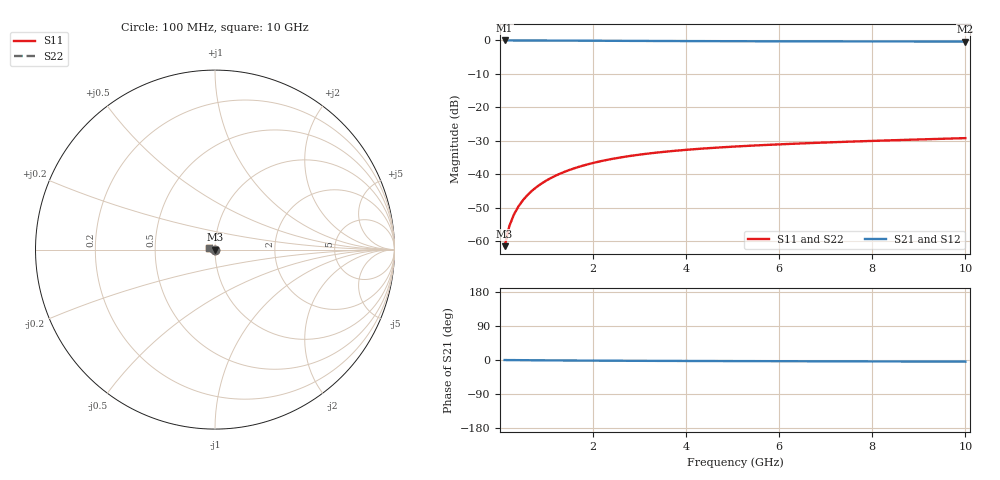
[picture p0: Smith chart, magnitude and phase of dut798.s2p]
! Touchstone file exported from HFSS 2024.1.0
!  File:  C:/UserFiles/LocalFiles/RDL_TSV_Batchsim/temp_TSV1_798_1779876130.aedt
!  Generated:  06:08:58 PM May 27, 2026
!  Design:  TSV1
!  Project:  temp_TSV1_798_1779876130
!  Setup:  Setup1
!  Solution:  Sweep
! Variables:
!  dtsv = 8.81um
!  hbump = 3um
!  htsv = 63.63um
!  lrdl = 252.1521522um
!  p = 40
!  p1 = 51.83um
!  t = 500um
!  trdl = 3um
!  wrdl = 24.89489489um
# GHz S MA R 50.000000
! Terminal data exported
! Port[1] = TSV22_T1
! Port[2] = TSV22_T2
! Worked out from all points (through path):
!   100 points, 100 MHz to 10 GHz, reference 50 ohm
!   highest |S21| = 0.00 dB at 100 MHz (marker M1); lowest = -0.3 dB at 10 GHz (marker M2)
!   lowest |S11| = -61.4 dB at 100 MHz (marker M3), VSWR 1.00, Z = 50 - j0.0836 ohm
!   |S11| at or under -10 dB: start of sweep to end of sweep
!   |S22| runs from -61.4 to -29.2 dB; largest |S21 - S12| = 2.1e-15
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0.1  0.0008463 -80.9  0.9998 -0.1  0.9998 -0.1  0.0008463 -80.9
! Gamma 0 0 0 0
! Port Impedance 50 0 50 0
0.2  0.001678 -88.2  0.9997 -0.2  0.9997 -0.2  0.001678 -88.2
0.3  0.002512 -92.0  0.9995 -0.3  0.9995 -0.3  0.002512 -92.0
0.4  0.003342 -95.0  0.9993 -0.4  0.9993 -0.4  0.003342 -95.0
0.5  0.004164 -97.6  0.9991 -0.5  0.9991 -0.5  0.004164 -97.6
0.6  0.004978 -99.9  0.9987 -0.6  0.9987 -0.6  0.004978 -99.9
0.7  0.005781 -102.2  0.9984 -0.7  0.9984 -0.7  0.005781 -102.2
0.8  0.006571 -104.3  0.998 -0.8  0.998 -0.8  0.006571 -104.3
0.9  0.007349 -106.4  0.9975 -0.8  0.9975 -0.8  0.007349 -106.4
1.1  0.008859 -110.4  0.9965 -1.0  0.9965 -1.0  0.008859 -110.4
1.4  0.011 -116.1  0.9947 -1.3  0.9947 -1.3  0.011 -116.1
1.6  0.01234 -119.7  0.9934 -1.4  0.9934 -1.4  0.01234 -119.7
1.8  0.0136 -123.2  0.9921 -1.5  0.9921 -1.5  0.0136 -123.2
2.1  0.01536 -128.1  0.99 -1.7  0.99 -1.7  0.01536 -128.1
2.5  0.01745 -134.3  0.9873 -1.9  0.9873 -1.9  0.01745 -134.3
2.9  0.01928 -139.9  0.9847 -2.1  0.9847 -2.1  0.01928 -139.9
3.4  0.02125 -146.4  0.9817 -2.3  0.9817 -2.3  0.02125 -146.4
4.2  0.02383 -155.4  0.9776 -2.6  0.9776 -2.6  0.02383 -155.4
5.1  0.02614 -164.1  0.9739 -2.9  0.9739 -2.9  0.02614 -164.1
6.7  0.02938 -176.7  0.9693 -3.4  0.9693 -3.4  0.02938 -176.7
8.4  0.03225 172.5  0.9661 -3.8  0.9661 -3.8  0.03225 172.5
10  0.03476 164.2  0.9641 -4.3  0.9641 -4.3  0.03476 164.2
